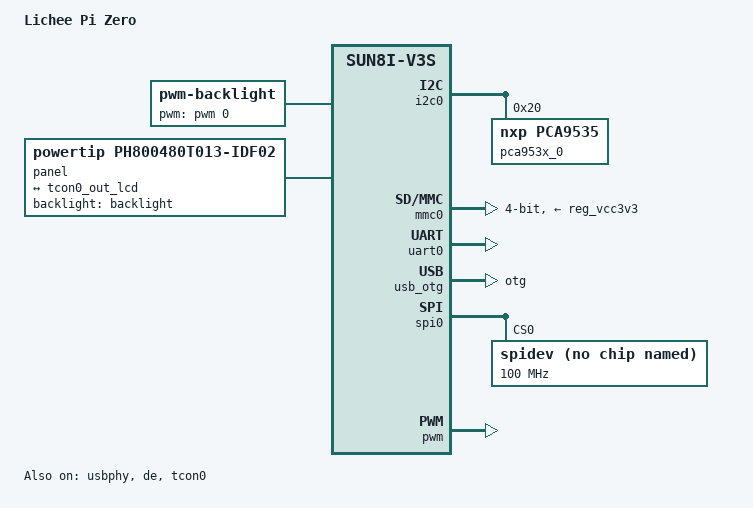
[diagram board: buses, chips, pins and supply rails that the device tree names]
/*
 * Copyright (C) 2016 Icenowy Zheng <icenowy@aosc.xyz>
 *
 * This file is dual-licensed: you can use it either under the terms
 * of the GPL or the X11 license, at your option. Note that this dual
 * licensing only applies to this file, and not this project as a
 * whole.
 *
 *  a) This file is free software; you can redistribute it and/or
 *     modify it under the terms of the GNU General Public License as
 *     published by the Free Software Foundation; either version 2 of the
 *     License, or (at your option) any later version.
 *
 *     This file is distributed in the hope that it will be useful,
 *     but WITHOUT ANY WARRANTY; without even the implied warranty of
 *     MERCHANTABILITY or FITNESS FOR A PARTICULAR PURPOSE.  See the
 *     GNU General Public License for more details.
 *
 * Or, alternatively,
 *
 *  b) Permission is hereby granted, free of charge, to any person
 *     obtaining a copy of this software and associated documentation
 *     files (the "Software"), to deal in the Software without
 *     restriction, including without limitation the rights to use,
 *     copy, modify, merge, publish, distribute, sublicense, and/or
 *     sell copies of the Software, and to permit persons to whom the
 *     Software is furnished to do so, subject to the following
 *     conditions:
 *
 *     The above copyright notice and this permission notice shall be
 *     included in all copies or substantial portions of the Software.
 *
 *     THE SOFTWARE IS PROVIDED "AS IS", WITHOUT WARRANTY OF ANY KIND,
 *     EXPRESS OR IMPLIED, INCLUDING BUT NOT LIMITED TO THE WARRANTIES
 *     OF MERCHANTABILITY, FITNESS FOR A PARTICULAR PURPOSE AND
 *     NONINFRINGEMENT. IN NO EVENT SHALL THE AUTHORS OR COPYRIGHT
 *     HOLDERS BE LIABLE FOR ANY CLAIM, DAMAGES OR OTHER LIABILITY,
 *     WHETHER IN AN ACTION OF CONTRACT, TORT OR OTHERWISE, ARISING
 *     FROM, OUT OF OR IN CONNECTION WITH THE SOFTWARE OR THE USE OR
 *     OTHER DEALINGS IN THE SOFTWARE.
 */

/dts-v1/;
#include "sun8i-v3s.dtsi"
#include "sunxi-common-regulators.dtsi"
#include <dt-bindings/pwm/pwm.h>

/ {
	model = "Lichee Pi Zero";
	compatible = "licheepi,licheepi-zero", "allwinner,sun8i-v3s";

	aliases {
		serial0 = &uart0;
	};

	chosen {
		stdout-path = "serial0:115200n8";
	};

	backlight: backlight {
		compatible = "pwm-backlight";
		pwms = <&pwm 0 1000000 0>;
		brightness-levels = <0 30 40 50 60 70 100>;
		default-brightness-level = <6>;
	};

	panel: panel {
		compatible = "powertip,ph800480t013-idf02", "simple-panel";
		backlight = <&backlight>;

		port {
			panel_input: endpoint {
				remote-endpoint = <&tcon0_out_lcd>;
			};
		};

		display-timings {
			bits-per-pixel =<16>;
			timing0: timing0 {
				clock-frequency = <33000000>;
				hactive = <320>;
				vactive = <820>;

				hfront-porch = <4>;
				hsync-len = <1>;
				hback-porch = <20>;

				vback-porch = <14>;
				vsync-len = <1>;
				vfront-porch = <14>;

				hsync-active = <0>;
				vsync-active = <0>;
				de-active = <1>;
				pixelclk-active = <1>;
			};
		};
	};
};

&i2c0 {
	status = "okay";
	pca953x_0:gpio@20 {
		compatible = "nxp,pca9535";
		reg = <0x20>;
		gpio-controller;
		#gpio-cells = <2>;
	};
};

&mmc0 {
	broken-cd;
	bus-width = <4>;
	vmmc-supply = <&reg_vcc3v3>;
	status = "okay";
};

&uart0 {
	pinctrl-0 = <&uart0_pb_pins>;
	pinctrl-names = "default";
	status = "okay";
};

&usb_otg {
	dr_mode = "otg";
	status = "okay";
};

&usbphy {
	usb0_id_det-gpios = <&pio 5 6 GPIO_ACTIVE_HIGH>;
	status = "okay";
};
&spi0 {
	status = "okay";
	spidev@0x00{
		compatible = "spidev";
		spi-max-frequency = <100000000>;
		reg = <0>;
	};
};

&de {
	status = "okay";
};

&pwm {
	pinctrl-0 = <&pwm0_pin>;
	status = "okay";
};

&tcon0 {
	pinctrl-0 = <&lcd_rgb565_pins>;
	status = "okay";
};

&tcon0_out {
	tcon0_out_lcd: endpoint@0 {
		reg = <0>;
		remote-endpoint = <&panel_input>;
	};
};
